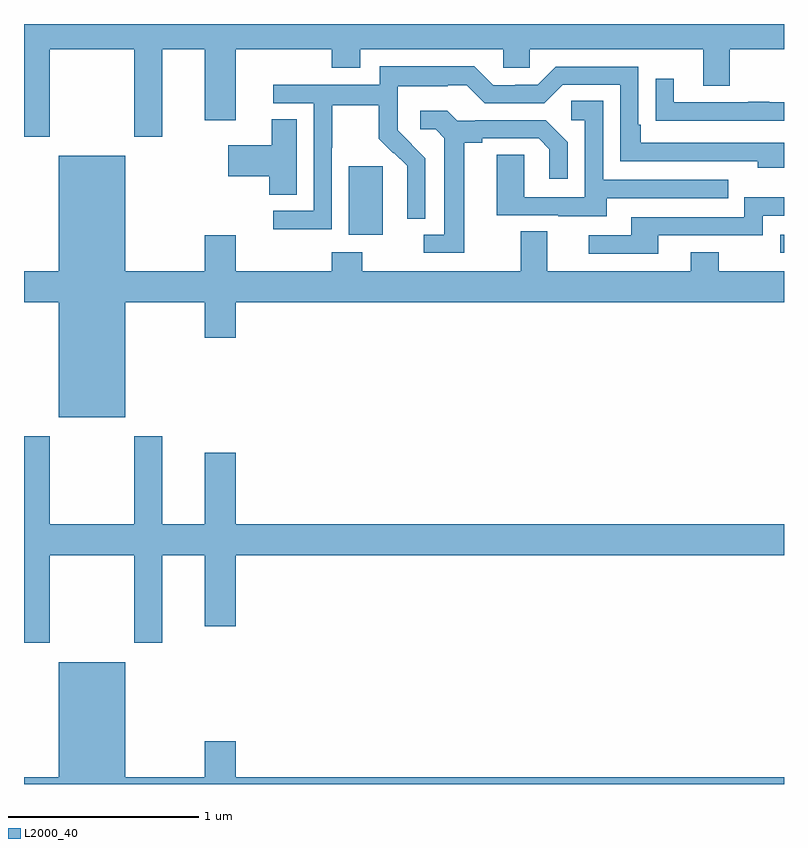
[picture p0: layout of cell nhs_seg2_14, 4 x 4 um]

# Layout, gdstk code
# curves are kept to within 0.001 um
import gdstk
lib = gdstk.Library(unit=1e-6, precision=1e-09)
def R(c, l, rs):  # rectangles x0, y0, x1, y1
    for r in rs: c.add(gdstk.rectangle(r[:2], r[2:], *l))
def P(c, l, *ps):  # polygons
    for p in ps: c.add(gdstk.Polygon(p, *l))
L2000_40 = (2000, 40)

nhs_seg2_14 = lib.new_cell('nhs_seg2_14')
R(nhs_seg2_14, L2000_40, [(114.981,614.595,115,614.691), (112.709,614.69,112.888,615.051)])
P(nhs_seg2_14, L2000_40, [(111.135,615.668),(111.58,615.668),(111.58,615.207),(111.727,615.207),(111.727,615.668),(111.95,615.668),(111.95,615.294),(112.114,615.294),(112.114,615.668),(112.619,615.668),(112.619,615.569),(112.771,615.569),(112.771,615.668),(113.523,615.668),(113.523,615.57),(113.661,615.57),(113.661,615.668),(114.575,615.668),(114.575,615.474),(114.715,615.474),(114.715,615.668),(115,615.668),(115,615.8),(111,615.8),(111,615.207),(111.135,615.207)],
  [(112.62,615.148),(112.623,615.148),(112.623,615.372),(112.867,615.372),(112.867,615.197),(112.944,615.12),(112.947,615.123),(113.018,615.053),(113.018,614.93),(113.016,614.93),(113.016,614.776),(113.112,614.776),(113.112,615.094),(112.966,615.242),(112.966,615.339),(112.968,615.339),(112.968,615.473),(113.231,615.473),(113.231,615.477),(113.331,615.477),(113.424,615.384),(113.739,615.384),(113.835,615.48),(114.138,615.48),(114.138,615.078),(114.863,615.078),(114.863,615.044),(115,615.044),(115,615.174),(114.247,615.174),(114.247,615.271),(114.234,615.271),(114.234,615.576),(113.799,615.576),(113.703,615.48),(113.585,615.48),(113.585,615.477),(113.469,615.477),(113.369,615.577),(112.872,615.577),(112.872,615.48),(112.311,615.48),(112.311,615.384),(112.524,615.384),(112.524,614.817),(112.311,614.817),(112.311,614.719),(112.62,614.719)],
  [(115,615.387),(114.923,615.387),(114.923,615.392),(114.811,615.392),(114.811,615.387),(114.421,615.387),(114.421,615.511),(114.325,615.511),(114.325,615.292),(114.427,615.292),(114.427,615.291),(115,615.291)],
  [(114.067,614.883),(114.707,614.883),(114.707,614.979),(114.048,614.979),(114.048,615.395),(113.88,615.395),(113.88,615.294),(113.952,615.294),(113.952,614.889),(113.634,614.889),(113.634,615.113),(113.489,615.113),(113.489,614.793),(113.813,614.793),(113.813,614.789),(114.067,614.789)],
  [(113.317,615.176),(113.413,615.176),(113.413,615.198),(113.708,615.198),(113.765,615.141),(113.765,614.985),(113.862,614.985),(113.862,615.178),(113.746,615.294),(113.374,615.294),(113.374,615.291),(113.28,615.291),(113.228,615.343),(113.085,615.343),(113.085,615.246),(113.166,615.246),(113.213,615.199),(113.213,614.691),(113.103,614.691),(113.103,614.595),(113.317,614.595)],
  [(112.435,615.299),(112.304,615.299),(112.304,615.163),(112.074,615.163),(112.074,614.998),(112.292,614.998),(112.292,614.902),(112.435,614.902)],
  [(111.532,614.336),(111.95,614.336),(111.95,614.148),(112.114,614.148),(112.114,614.336),(115,614.336),(115,614.5),(114.657,614.5),(114.657,614.599),(114.509,614.599),(114.509,614.5),(113.755,614.5),(113.755,614.708),(113.615,614.708),(113.615,614.5),(112.779,614.5),(112.779,614.599),(112.619,614.599),(112.619,614.5),(112.114,614.5),(112.114,614.689),(111.95,614.689),(111.95,614.5),(111.532,614.5),(111.532,615.106),(111.182,615.106),(111.182,614.5),(111,614.5),(111,614.336),(111.182,614.336),(111.182,613.73),(111.532,613.73)],
  [(114.337,614.688),(114.888,614.688),(114.888,614.79),(115,614.79),(115,614.887),(114.792,614.887),(114.792,614.784),(114.197,614.784),(114.197,614.688),(113.973,614.688),(113.973,614.592),(114.337,614.592)],
  [(111.135,613.004),(111.58,613.004),(111.58,612.543),(111.727,612.543),(111.727,613.004),(111.95,613.004),(111.95,612.63),(112.114,612.63),(112.114,613.004),(115,613.004),(115,613.168),(112.114,613.168),(112.114,613.543),(111.95,613.543),(111.95,613.168),(111.727,613.168),(111.727,613.63),(111.58,613.63),(111.58,613.168),(111.135,613.168),(111.135,613.63),(111,613.63),(111,612.543),(111.135,612.543)],
  [(115,611.836),(112.114,611.836),(112.114,612.025),(111.95,612.025),(111.95,611.836),(111.532,611.836),(111.532,612.442),(111.182,612.442),(111.182,611.836),(111,611.836),(111,611.8),(115,611.8)])

lib.write_gds('nhs_seg2_14.gds')
